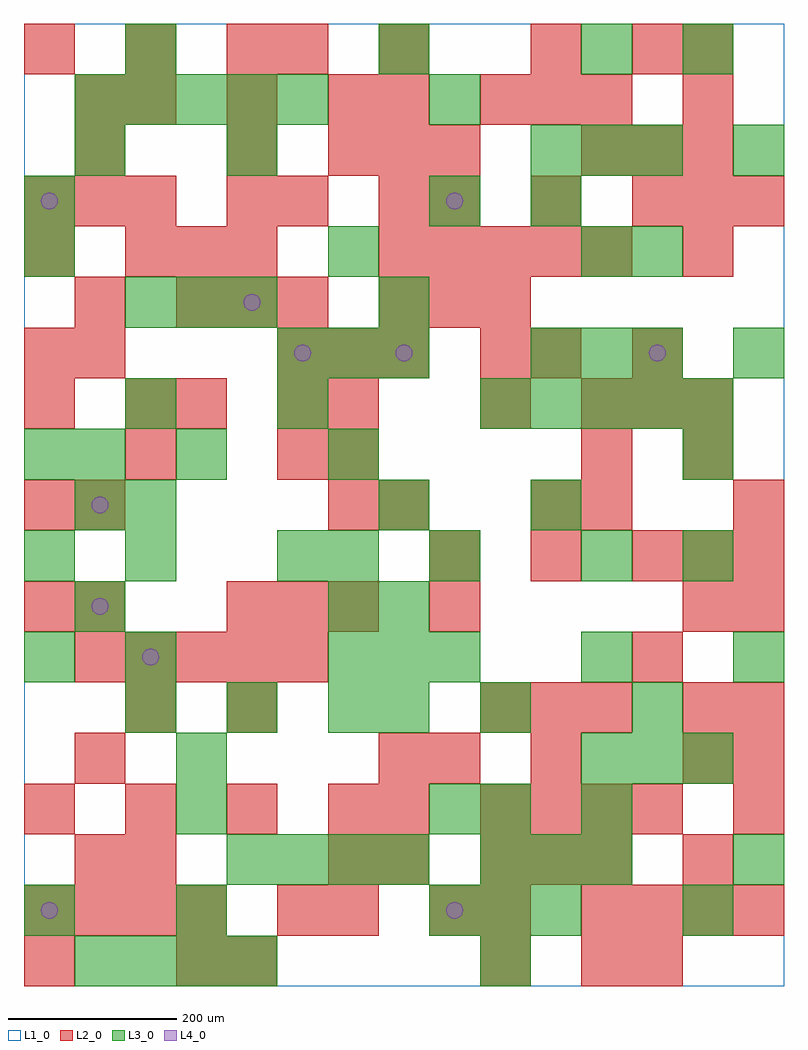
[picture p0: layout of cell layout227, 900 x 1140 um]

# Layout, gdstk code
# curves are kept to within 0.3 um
import gdstk
lib = gdstk.Library(unit=1e-6, precision=1e-09)
def R(c, l, rs):  # rectangles x0, y0, x1, y1
    for r in rs: c.add(gdstk.rectangle(r[:2], r[2:], *l))
def A(c, l, x, y, w, h, nx, ny, dx, dy):  # array of equal rectangles
    R(c, l, [(x+i*dx, y+j*dy, x+i*dx+w, y+j*dy+h) for i in range(nx) for j in range(ny)])
def P(c, l, *ps):  # polygons
    for p in ps: c.add(gdstk.Polygon(p, *l))
L1_0 = (1, 0)
L2_0 = (2, 0)
L3_0 = (3, 0)
L4_0 = (4, 0)

layout227 = lib.new_cell('layout227')
R(layout227, L1_0, [(0,0,900,1140)])
A(layout227, L2_0, 720, 0, 60, 60, 1, 4, 0, 360)
A(layout227, L2_0, 0, 60, 60, 60, 4, 1, 60, 0)
A(layout227, L2_0, 480, 60, 60, 60, 1, 3, 0, 180)
A(layout227, L2_0, 660, 60, 60, 60, 4, 1, 60, 0)
A(layout227, L2_0, 420, 120, 60, 60, 1, 3, 0, 60)
A(layout227, L2_0, 540, 120, 60, 60, 3, 2, 60, 180)
A(layout227, L2_0, 0, 180, 60, 60, 4, 1, 120, 0)
A(layout227, L2_0, 540, 180, 60, 60, 4, 1, 60, 0)
A(layout227, L2_0, 840, 180, 60, 60, 1, 3, 0, 60)
A(layout227, L2_0, 60, 360, 60, 60, 5, 1, 60, 0)
A(layout227, L2_0, 0, 420, 60, 60, 1, 3, 0, 120)
A(layout227, L2_0, 240, 420, 60, 60, 3, 1, 60, 0)
A(layout227, L2_0, 840, 420, 60, 60, 1, 3, 0, 60)
A(layout227, L2_0, 480, 480, 60, 60, 3, 2, 120, 420)
A(layout227, L2_0, 360, 540, 60, 60, 1, 3, 0, 60)
A(layout227, L2_0, 660, 660, 60, 60, 3, 2, 60, 300)
A(layout227, L2_0, 300, 720, 60, 60, 3, 1, 60, 0)
A(layout227, L2_0, 180, 780, 60, 60, 3, 1, 60, 0)
A(layout227, L2_0, 420, 780, 60, 60, 3, 1, 60, 0)
A(layout227, L2_0, 120, 840, 60, 60, 3, 1, 60, 0)
A(layout227, L2_0, 420, 840, 60, 60, 5, 1, 60, 0)
A(layout227, L2_0, 0, 900, 60, 60, 3, 1, 60, 0)
A(layout227, L2_0, 360, 960, 60, 60, 3, 1, 60, 0)
A(layout227, L2_0, 120, 1020, 60, 60, 3, 1, 120, 0)
A(layout227, L2_0, 540, 1020, 60, 60, 3, 1, 60, 0)
A(layout227, L2_0, 0, 1080, 60, 60, 3, 1, 120, 0)
R(layout227, L2_0, [(0,0,60,60), (180,0,240,60), (240,0,300,60), (540,0,600,60), (660,0,720,60), (300,60,360,120), (360,60,420,120), (540,60,600,120), (60,120,120,180), (120,120,180,180), (360,120,420,180), (780,120,840,180), (60,240,120,300), (600,240,660,300), (780,240,840,300), (120,300,180,360), (240,300,300,360), (780,300,840,360), (60,420,120,480), (780,420,840,480), (780,480,840,540), (60,540,120,600), (420,540,480,600), (600,540,660,600), (660,540,720,600), (120,600,180,660), (300,600,360,660), (660,600,720,660), (780,600,840,660), (120,660,180,720), (180,660,240,720), (300,660,360,720), (540,660,600,720), (0,720,60,780), (60,720,120,780), (540,720,600,780), (600,720,660,780), (60,780,120,840), (0,840,60,900), (780,840,840,900), (240,900,300,960), (300,900,360,960), (420,900,480,960), (780,900,840,960), (840,900,900,960), (60,960,120,1020), (240,960,300,1020), (60,1020,120,1080), (420,1020,480,1080), (780,1020,840,1080), (300,1080,360,1140), (420,1080,480,1140), (600,1080,660,1140), (780,1080,840,1140)])
A(layout227, L3_0, 60, 0, 60, 60, 4, 1, 60, 0)
A(layout227, L3_0, 480, 60, 60, 60, 3, 1, 60, 0)
A(layout227, L3_0, 240, 120, 60, 60, 4, 1, 60, 0)
A(layout227, L3_0, 540, 120, 60, 60, 3, 1, 60, 0)
A(layout227, L3_0, 660, 240, 60, 60, 3, 1, 60, 0)
A(layout227, L3_0, 120, 300, 60, 60, 3, 1, 120, 0)
A(layout227, L3_0, 420, 300, 60, 60, 1, 3, 0, 120)
A(layout227, L3_0, 0, 360, 60, 60, 1, 3, 0, 120)
A(layout227, L3_0, 360, 360, 60, 60, 3, 1, 60, 0)
A(layout227, L3_0, 540, 660, 60, 60, 5, 1, 60, 0)
A(layout227, L3_0, 300, 720, 60, 60, 3, 1, 60, 0)
A(layout227, L3_0, 600, 720, 60, 60, 3, 2, 60, 240)
A(layout227, L3_0, 120, 780, 60, 60, 3, 1, 60, 0)
A(layout227, L3_0, 60, 1020, 60, 60, 5, 1, 60, 0)
R(layout227, L3_0, [(540,0,600,60), (0,60,60,120), (180,60,240,120), (780,60,840,120), (840,120,900,180), (180,180,240,240), (480,180,540,240), (540,180,600,240), (660,180,720,240), (180,240,240,300), (540,300,600,360), (720,300,780,360), (120,360,180,420), (660,360,720,420), (840,360,900,420), (60,420,120,480), (360,420,420,480), (120,480,180,540), (300,480,360,540), (360,480,420,540), (480,480,540,540), (660,480,720,540), (780,480,840,540), (60,540,120,600), (120,540,180,600), (600,540,660,600), (60,600,120,660), (180,600,240,660), (360,600,420,660), (780,600,840,660), (120,660,180,720), (300,660,360,720), (840,720,900,780), (420,780,480,840), (0,840,60,900), (360,840,420,900), (660,840,720,900), (720,840,780,900), (0,900,60,960), (480,900,540,960), (600,900,660,960), (60,960,120,1020), (240,960,300,1020), (840,960,900,1020), (480,1020,540,1080), (120,1080,180,1140), (420,1080,480,1140), (660,1080,720,1140), (780,1080,840,1140)])
P(layout227, L4_0, [(40,90),(39.239,93.827),(37.071,97.071),(33.827,99.239),(30,100),(26.173,99.239),(22.929,97.071),(20.761,93.827),(20,90),(20.761,86.173),(22.929,82.929),(26.173,80.761),(30,80),(33.827,80.761),(37.071,82.929),(39.239,86.173)],
  [(40,930),(39.239,933.827),(37.071,937.071),(33.827,939.239),(30,940),(26.173,939.239),(22.929,937.071),(20.761,933.827),(20,930),(20.761,926.173),(22.929,922.929),(26.173,920.761),(30,920),(33.827,920.761),(37.071,922.929),(39.239,926.173)],
  [(100,450),(99.239,453.827),(97.071,457.071),(93.827,459.239),(90,460),(86.173,459.239),(82.929,457.071),(80.761,453.827),(80,450),(80.761,446.173),(82.929,442.929),(86.173,440.761),(90,440),(93.827,440.761),(97.071,442.929),(99.239,446.173)],
  [(100,570),(99.239,573.827),(97.071,577.071),(93.827,579.239),(90,580),(86.173,579.239),(82.929,577.071),(80.761,573.827),(80,570),(80.761,566.173),(82.929,562.929),(86.173,560.761),(90,560),(93.827,560.761),(97.071,562.929),(99.239,566.173)],
  [(160,390),(159.239,393.827),(157.071,397.071),(153.827,399.239),(150,400),(146.173,399.239),(142.929,397.071),(140.761,393.827),(140,390),(140.761,386.173),(142.929,382.929),(146.173,380.761),(150,380),(153.827,380.761),(157.071,382.929),(159.239,386.173)],
  [(280,810),(279.239,813.827),(277.071,817.071),(273.827,819.239),(270,820),(266.173,819.239),(262.929,817.071),(260.761,813.827),(260,810),(260.761,806.173),(262.929,802.929),(266.173,800.761),(270,800),(273.827,800.761),(277.071,802.929),(279.239,806.173)],
  [(340,750),(339.239,753.827),(337.071,757.071),(333.827,759.239),(330,760),(326.173,759.239),(322.929,757.071),(320.761,753.827),(320,750),(320.761,746.173),(322.929,742.929),(326.173,740.761),(330,740),(333.827,740.761),(337.071,742.929),(339.239,746.173)],
  [(460,750),(459.239,753.827),(457.071,757.071),(453.827,759.239),(450,760),(446.173,759.239),(442.929,757.071),(440.761,753.827),(440,750),(440.761,746.173),(442.929,742.929),(446.173,740.761),(450,740),(453.827,740.761),(457.071,742.929),(459.239,746.173)],
  [(520,90),(519.239,93.827),(517.071,97.071),(513.827,99.239),(510,100),(506.173,99.239),(502.929,97.071),(500.761,93.827),(500,90),(500.761,86.173),(502.929,82.929),(506.173,80.761),(510,80),(513.827,80.761),(517.071,82.929),(519.239,86.173)],
  [(520,930),(519.239,933.827),(517.071,937.071),(513.827,939.239),(510,940),(506.173,939.239),(502.929,937.071),(500.761,933.827),(500,930),(500.761,926.173),(502.929,922.929),(506.173,920.761),(510,920),(513.827,920.761),(517.071,922.929),(519.239,926.173)],
  [(760,750),(759.239,753.827),(757.071,757.071),(753.827,759.239),(750,760),(746.173,759.239),(742.929,757.071),(740.761,753.827),(740,750),(740.761,746.173),(742.929,742.929),(746.173,740.761),(750,740),(753.827,740.761),(757.071,742.929),(759.239,746.173)])

lib.write_gds('layout227.gds')
